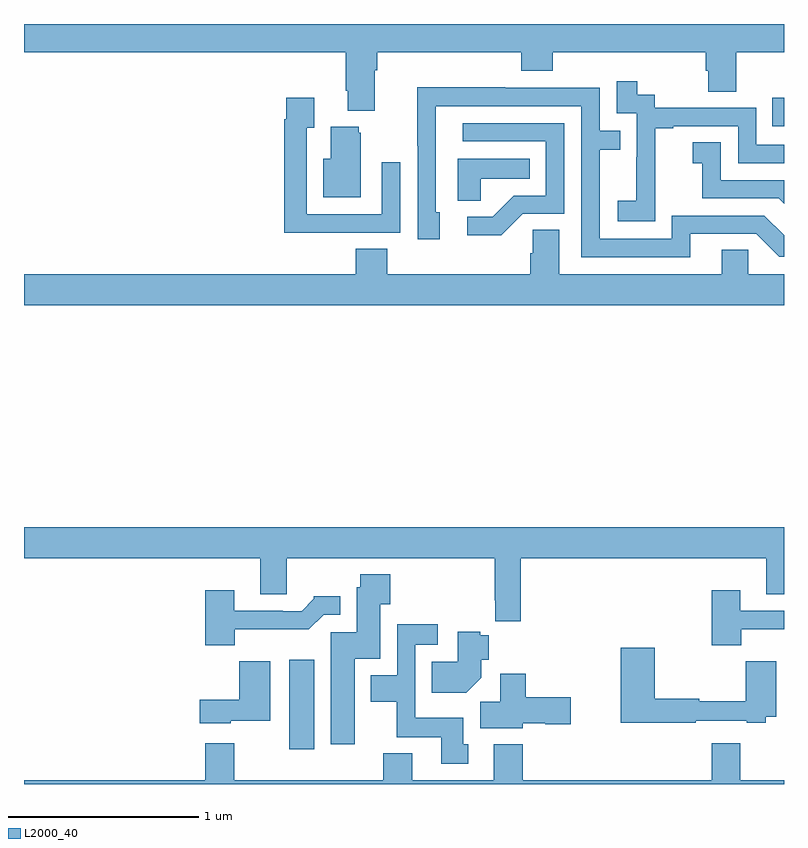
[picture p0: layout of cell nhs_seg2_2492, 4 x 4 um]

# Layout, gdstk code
import gdstk
lib = gdstk.Library(unit=1e-6, precision=1e-09)
def R(c, l, rs):  # rectangles x0, y0, x1, y1
    for r in rs: c.add(gdstk.rectangle(r[:2], r[2:], *l))
def P(c, l, *ps):  # polygons
    for p in ps: c.add(gdstk.Polygon(p, *l))
L2000_40 = (2000, 40)

nhs_seg2_2492 = lib.new_cell('nhs_seg2_2492')
R(nhs_seg2_2492, L2000_40, [(242.396,627.984,242.527,628.453), (244.939,631.263,245,631.411)])
P(nhs_seg2_2492, L2000_40, [(242.845,631.556),(242.858,631.556),(242.858,631.652),(243.617,631.652),(243.617,631.553),(243.782,631.553),(243.782,631.652),(244.589,631.652),(244.589,631.554),(244.601,631.554),(244.601,631.444),(244.749,631.444),(244.749,631.652),(245,631.652),(245,631.8),(241,631.8),(241,631.652),(242.693,631.652),(242.693,631.45),(242.705,631.45),(242.705,631.343),(242.845,631.343)],
  [(244.323,630.967),(244.322,630.967),(244.322,631.251),(244.417,631.251),(244.417,631.263),(244.758,631.263),(244.758,631.068),(245,631.068),(245,631.164),(244.854,631.164),(244.854,631.359),(244.32,631.359),(244.32,631.428),(244.228,631.428),(244.228,631.498),(244.119,631.498),(244.119,631.329),(244.224,631.329),(244.224,631.1),(244.223,631.1),(244.223,630.871),(244.125,630.871),(244.125,630.761),(244.323,630.761)],
  [(244.507,630.696),(244.854,630.696),(244.974,630.576),(245,630.576),(245,630.688),(244.896,630.792),(244.41,630.792),(244.41,630.669),(244.029,630.669),(244.029,631.138),(244.139,631.138),(244.139,631.239),(244.029,631.239),(244.029,631.464),(243.533,631.464),(243.533,631.466),(243.07,631.466),(243.07,631.159),(243.072,631.159),(243.072,630.666),(243.187,630.666),(243.187,630.81),(243.168,630.81),(243.168,631.368),(243.933,631.368),(243.933,630.573),(244.507,630.573)],
  [(242.663,630.702),(242.979,630.702),(242.979,631.072),(242.883,631.072),(242.883,630.798),(242.487,630.798),(242.487,631.255),(242.527,631.255),(242.527,631.411),(242.379,631.411),(242.379,631.298),(242.371,631.298),(242.371,630.701),(242.663,630.701)],
  [(243.624,630.801),(243.843,630.801),(243.843,631.278),(243.309,631.278),(243.309,631.182),(243.747,631.182),(243.747,630.897),(243.578,630.897),(243.467,630.786),(243.333,630.786),(243.333,630.689),(243.511,630.689)],
  [(242.773,631.227),(242.762,631.227),(242.762,631.258),(242.615,631.258),(242.615,631.09),(242.576,631.09),(242.576,630.887),(242.773,630.887)],
  [(245,630.978),(244.668,630.978),(244.668,631.177),(244.521,631.177),(244.521,631.067),(244.57,631.067),(244.57,630.882),(244.973,630.882),(245,630.855)],
  [(243.405,630.986),(243.662,630.986),(243.662,631.09),(243.284,631.09),(243.284,630.871),(243.405,630.871)],
  [(245,630.484),(244.812,630.484),(244.812,630.611),(244.673,630.611),(244.673,630.484),(243.817,630.484),(243.817,630.716),(243.678,630.716),(243.678,630.593),(243.665,630.593),(243.665,630.484),(242.912,630.484),(242.912,630.617),(242.747,630.617),(242.747,630.484),(241,630.484),(241,630.32),(245,630.32)],
  [(243.614,628.988),(244.907,628.988),(244.907,628.798),(245,628.798),(245,629.152),(241,629.152),(241,628.988),(242.243,628.988),(242.243,628.798),(242.383,628.798),(242.383,628.988),(243.478,628.988),(243.478,628.768),(243.479,628.768),(243.479,628.656),(243.614,628.656)],
  [(242.74,628.46),(242.875,628.46),(242.875,628.747),(242.927,628.747),(242.927,628.903),(242.77,628.903),(242.77,628.836),(242.75,628.836),(242.75,628.599),(242.615,628.599),(242.615,628.008),(242.74,628.008)],
  [(244.774,628.614),(245,628.614),(245,628.713),(244.771,628.713),(244.771,628.819),(244.619,628.819),(244.619,628.529),(244.774,628.529)],
  [(242.11,628.614),(242.499,628.614),(242.577,628.692),(242.665,628.692),(242.665,628.789),(242.526,628.789),(242.526,628.774),(242.462,628.71),(242.363,628.71),(242.363,628.713),(242.107,628.713),(242.107,628.819),(241.955,628.819),(241.955,628.529),(242.11,628.529)],
  [(243.337,628.008),(243.313,628.008),(243.313,628.15),(243.06,628.15),(243.06,628.533),(243.178,628.533),(243.178,628.642),(242.964,628.642),(242.964,628.372),(242.825,628.372),(242.825,628.232),(242.962,628.232),(242.962,628.046),(243.197,628.046),(243.197,627.906),(243.337,627.906)],
  [(243.406,628.358),(243.406,628.454),(243.445,628.454),(243.445,628.582),(243.402,628.582),(243.402,628.602),(243.284,628.602),(243.284,628.444),(243.145,628.444),(243.145,628.28),(243.328,628.28)],
  [(244.535,628.134),(244.805,628.134),(244.805,628.122),(244.905,628.122),(244.905,628.154),(244.96,628.154),(244.96,628.447),(244.798,628.447),(244.798,628.235),(244.554,628.235),(244.554,628.25),(244.32,628.25),(244.32,628.516),(244.142,628.516),(244.142,628.122),(244.535,628.122)],
  [(242.088,628.133),(242.296,628.133),(242.296,628.447),(242.134,628.447),(242.134,628.243),(241.926,628.243),(241.926,628.121),(242.088,628.121)],
  [(243.624,628.121),(243.744,628.121),(243.744,628.114),(243.877,628.114),(243.877,628.256),(243.641,628.256),(243.641,628.381),(243.506,628.381),(243.506,628.232),(243.401,628.232),(243.401,628.094),(243.624,628.094)],
  [(242.107,628.015),(241.955,628.015),(241.955,627.82),(241,627.82),(241,627.8),(245,627.8),(245,627.82),(244.771,627.82),(244.771,628.015),(244.619,628.015),(244.619,627.82),(243.626,627.82),(243.626,628.009),(243.473,628.009),(243.473,627.82),(243.043,627.82),(243.043,627.961),(242.891,627.961),(242.891,627.82),(242.107,627.82)])

lib.write_gds('nhs_seg2_2492.gds')
